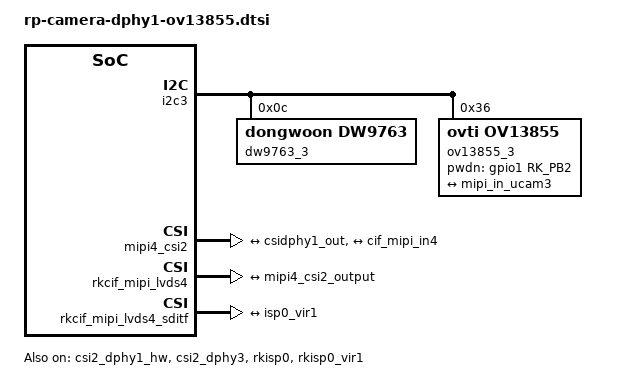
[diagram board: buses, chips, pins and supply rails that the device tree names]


&i2c3 {
    status = "okay";
    pinctrl-names = "default";
    pinctrl-0 = <&i2c3m0_xfer>;

    dw9763_3: dw9763_3@c {
                compatible = "dongwoon,dw9763";
                status = "okay";
                reg = <0x0c>;
                rockchip,vcm-max-current = <120>;   
                rockchip,vcm-start-current = <20>;   
                rockchip,vcm-rated-current = <90>;  
                rockchip,vcm-step-mode = <3>;     
                rockchip,vcm-t-src = <0x20>;
                rockchip,vcm-t-div = <1>;
                rockchip,camera-module-index = <3>;    
                rockchip,camera-module-facing = "back";  
        };
  
    ov13855_3: ov13855_3@36 {
        compatible = "ovti,ov13855";
        status = "okay";
        reg = <0x36>;
        clocks = <&cru CLK_MIPI_CAMARAOUT_M4>;
        clock-names = "xvclk";
        power-domains = <&power RK3588_PD_VI>;
        pinctrl-names = "default";
        pinctrl-0 = <&mipim0_camera4_clk>;
        rockchip,grf = <&sys_grf>;
        pwdn-gpios = <&gpio1 RK_PB2 GPIO_ACTIVE_HIGH>;
        rockchip,camera-module-index = <3>;
        rockchip,camera-module-facing = "back";
        rockchip,camera-module-name = "CMK-OT2016-FV1";
        rockchip,camera-module-lens-name = "default";
        lens-focus = <&dw9763_3>;
        port {
            ov13855_out3: endpoint {
                remote-endpoint = <&mipi_in_ucam3>;
                data-lanes = <1 2 3 4>;
            };
        };
    };
};

&csi2_dphy1_hw {
    status = "okay";
};

&csi2_dphy3 {
    status = "okay";
    ports {
        #address-cells = <1>;
        #size-cells = <0>;
        port@0 {
            reg = <0>;
            #address-cells = <1>;
            #size-cells = <0>;
            mipi_in_ucam3: endpoint@1 {
                reg = <1>;
                remote-endpoint = <&ov13855_out3>;
                data-lanes = <1 2 3 4>;
            };
        };
        port@1 {
            reg = <1>;
            #address-cells = <1>;
            #size-cells = <0>;
            csidphy1_out: endpoint@0 {
                reg = <0>;
                remote-endpoint = <&mipi4_csi2_input>;
            };
        };
    };
};

&mipi4_csi2 {
    status = "okay";
    ports {
        #address-cells = <1>;
        #size-cells = <0>;
        port@0 {
            reg = <0>;
            #address-cells = <1>;
            #size-cells = <0>;
            mipi4_csi2_input: endpoint@1 {
                reg = <1>;
                remote-endpoint = <&csidphy1_out>;
            };
        };
        port@1 {
            reg = <1>;
            #address-cells = <1>;
            #size-cells = <0>;
            mipi4_csi2_output: endpoint@0 {
                reg = <0>;
                remote-endpoint = <&cif_mipi_in4>;
            };
        };
    };
};


&rkcif_mipi_lvds4 {
    status = "okay";
    port {
        cif_mipi_in4: endpoint {
            remote-endpoint = <&mipi4_csi2_output>;
        };
    };
};

&rkcif_mipi_lvds4_sditf {
    status = "okay";
    port {
        mipi4_lvds_sditf: endpoint {
            remote-endpoint = <&isp0_vir1>;
        };
    };
};

&rkisp0 {
    status = "okay";
};

&isp0_mmu {
    status = "okay";
};

&rkisp0_vir1 {
    status = "okay";
    port {
        #address-cells = <1>;
        #size-cells = <0>;

        isp0_vir1: endpoint@0 {
            reg = <0>;
            remote-endpoint = <&mipi4_lvds_sditf>;
        };
    };
};

